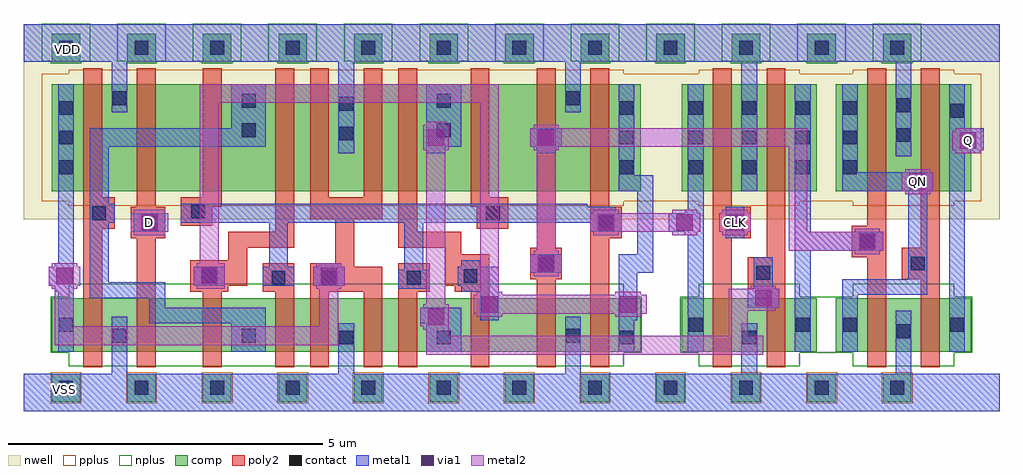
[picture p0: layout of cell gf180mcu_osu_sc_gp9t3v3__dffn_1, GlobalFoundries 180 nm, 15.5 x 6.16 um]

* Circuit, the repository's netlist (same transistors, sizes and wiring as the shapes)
* Copyright 2022 Google LLC
*
* Licensed under the Apache License, Version 2.0 (the "License");
* you may not use this file except in compliance with the License.
* You may obtain a copy of the License at
*
*      http://www.apache.org/licenses/LICENSE-2.0
*
* Unless required by applicable law or agreed to in writing, software
* distributed under the License is distributed on an "AS IS" BASIS,
* WITHOUT WARRANTIES OR CONDITIONS OF ANY KIND, either express or implied.
* See the License for the specific language governing permissions and
* limitations under the License.

.inc "/import/yukari1/lrburle/OSU_180/char/techfiles/design.hspice"
.lib "/import/yukari1/lrburle/OSU_180/char/techfiles/sm141064.hspice" typical

.GLOBAL VDD
.GLOBAL VSS

.option scale=0.05u

.subckt gf180mcu_osu_sc_gp9t3v3__dffn_1 D Q QN CLK
X0 a_42_70 D VDD VDD pmos_3p3 w=34 l=6
X1 a_125_19 a_53_38 a_114_70 VDD pmos_3p3 w=34 l=6
X2 Q QN VSS VSS nmos_3p3 w=17 l=6
X3 a_161_42 a_125_19 VSS VSS nmos_3p3 w=17 l=6
X4 a_86_70 a_53_38 a_19_14 VDD pmos_3p3 w=34 l=6
X5 VDD a_161_42 a_148_70 VDD pmos_3p3 w=34 l=6
X6 Q QN VDD VDD pmos_3p3 w=34 l=6
X7 VSS a_9_19 a_86_19 VSS nmos_3p3 w=17 l=6
X8 a_19_14 a_53_38 a_42_19 VSS nmos_3p3 w=17 l=6
X9 a_161_42 a_125_19 VDD VDD pmos_3p3 w=34 l=6
X10 VDD a_9_19 a_86_70 VDD pmos_3p3 w=34 l=6
X11 a_19_14 a_50_59 a_42_70 VDD pmos_3p3 w=34 l=6
X12 VSS a_19_14 a_9_19 VSS nmos_3p3 w=17 l=6
X13 a_53_38 a_50_59 VSS VSS nmos_3p3 w=17 l=6
X14 VDD a_19_14 a_9_19 VDD pmos_3p3 w=34 l=6
X15 VSS a_161_42 QN VSS nmos_3p3 w=17 l=6
X16 a_53_38 a_50_59 VDD VDD pmos_3p3 w=34 l=6
X17 VSS CLK a_50_59 VSS nmos_3p3 w=17 l=6
X18 VDD a_161_42 QN VDD pmos_3p3 w=34 l=6
X19 a_148_19 a_53_38 a_125_19 VSS nmos_3p3 w=17 l=6
X20 a_114_19 a_9_19 VSS VSS nmos_3p3 w=17 l=6
X21 VDD CLK a_50_59 VDD pmos_3p3 w=34 l=6
X22 a_148_70 a_50_59 a_125_19 VDD pmos_3p3 w=34 l=6
X23 a_114_70 a_9_19 VDD VDD pmos_3p3 w=34 l=6
X24 a_42_19 D VSS VSS nmos_3p3 w=17 l=6
X25 a_125_19 a_50_59 a_114_19 VSS nmos_3p3 w=17 l=6
X26 a_86_19 a_50_59 a_19_14 VSS nmos_3p3 w=17 l=6
X27 VSS a_161_42 a_148_19 VSS nmos_3p3 w=17 l=6
.ends

** hspice subcircuit dictionary

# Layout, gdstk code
import gdstk
lib = gdstk.Library(unit=1e-6, precision=1e-09)
def R(c, l, rs):  # rectangles x0, y0, x1, y1
    for r in rs: c.add(gdstk.rectangle(r[:2], r[2:], *l))
def A(c, l, x, y, w, h, nx, ny, dx, dy):  # array of equal rectangles
    R(c, l, [(x+i*dx, y+j*dy, x+i*dx+w, y+j*dy+h) for i in range(nx) for j in range(ny)])
nwell = (21, 0)
comp = (22, 0)
poly2 = (30, 0)
pplus = (31, 0)
nplus = (32, 0)
contact = (33, 0)
metal1 = (34, 0)
via1 = (35, 0)
metal2 = (36, 0)

gf180mcu_osu_sc_gp9t3v3_ = lib.new_cell('gf180mcu_osu_sc_gp9t3v3__dffn_1')
R(gf180mcu_osu_sc_gp9t3v3_, nwell, [(0,3.05,15.5,6.15)])
A(gf180mcu_osu_sc_gp9t3v3_, comp, 0.45, 0.15, 0.45, 0.45, 12, 2, 1.2, 5.4)
R(gf180mcu_osu_sc_gp9t3v3_, comp, [(0.45,0.95,9.8,1.8), (10.45,0.95,12.6,1.8), (12.9,0.95,15.05,1.8), (0.45,3.5,9.8,5.2), (10.45,3.5,12.6,5.2), (12.9,3.5,15.05,5.2)])
R(gf180mcu_osu_sc_gp9t3v3_, poly2, [(0.95,0.7,1.25,2.9), (1.8,0.7,2.1,2.75), (2.85,0.7,3.15,1.9), (4,0.7,4.3,1.9), (4.55,0.7,4.85,1.9), (5.4,0.7,5.7,1.9), (5.95,0.7,6.25,1.9), (7.1,0.7,7.4,1.9), (8.15,0.7,8.45,2.1), (9,0.7,9.3,2.75), (10.95,0.7,11.25,2.75), (11.8,0.7,12.1,1.95), (13.4,0.7,13.7,2.45), (14.25,0.7,14.55,2.1), (2.65,1.9,3.25,2), (3.8,1.9,4.3,2.35), (4.55,1.9,5.7,2.3), (5.95,1.9,6.45,2.35), (6.85,1.9,7.4,2), (11.5,1.95,12.1,2.45), (2.65,2,3.55,2.4), (6.7,2,7.4,2.5), (8.05,2.1,8.55,2.6), (13.95,2.1,14.55,2.6), (4.55,2.3,5.25,2.35), (4.95,2.35,5.25,3.05), (3.25,2.4,3.55,2.6), (11.8,2.45,12.1,5.45), (13.15,2.45,13.7,2.95), (6.7,2.5,6.95,2.6), (3.25,2.6,4.3,2.85), (5.95,2.6,6.95,2.85), (8.15,2.6,8.45,5.45), (14.25,2.6,14.55,5.45), (1.7,2.75,2.25,3.25), (9,2.75,9.5,3.25), (10.95,2.75,11.55,3.25), (4,2.85,4.3,5.45), (5.95,2.85,6.25,5.45), (0.95,2.9,1.45,3.4), (7.2,2.9,7.7,3.25), (2.5,2.95,3,3.25), (13.4,2.95,13.7,5.45), (4.55,3.05,5.7,3.4), (1.8,3.25,2.1,5.45), (2.5,3.25,3.15,3.4), (7.1,3.25,7.7,3.4), (9,3.25,9.3,5.45), (10.95,3.25,11.25,5.45), (0.95,3.4,1.25,5.45), (2.85,3.4,3.15,5.45), (4.55,3.4,4.85,5.45), (5.4,3.4,5.7,5.45), (7.1,3.4,7.4,5.45)])
A(gf180mcu_osu_sc_gp9t3v3_, pplus, 0.43, 0.13, 0.49, 0.49, 12, 1, 1.2, 0)
R(gf180mcu_osu_sc_gp9t3v3_, pplus, [(0.72,3.27,9.53,3.34), (10.72,3.27,12.33,3.34), (13.17,3.27,14.78,3.34), (0.29,3.34,15.21,5.36), (0.72,5.36,9.53,5.43), (10.72,5.36,12.33,5.43), (13.17,5.36,14.78,5.43)])
A(gf180mcu_osu_sc_gp9t3v3_, nplus, 0.43, 5.53, 0.49, 0.03, 12, 1, 1.2, 0)
A(gf180mcu_osu_sc_gp9t3v3_, nplus, 0.29, 5.56, 0.77, 0.6, 12, 1, 1.2, 0)
R(gf180mcu_osu_sc_gp9t3v3_, nplus, [(0.72,0.72,9.53,0.93), (10.72,0.72,12.33,0.93), (13.17,0.72,14.78,0.93), (0.43,0.93,9.82,1.82), (10.43,0.93,15.07,1.82), (0.72,1.82,9.53,2.03), (10.72,1.82,12.33,2.03), (13.17,1.82,14.78,2.03)])
A(gf180mcu_osu_sc_gp9t3v3_, contact, 0.565, 0.265, 0.22, 0.22, 12, 2, 1.2, 5.4)
A(gf180mcu_osu_sc_gp9t3v3_, contact, 0.565, 3.77, 0.22, 0.22, 1, 3, 0, 0.47)
A(gf180mcu_osu_sc_gp9t3v3_, contact, 9.465, 3.77, 0.22, 0.22, 1, 3, 0, 0.47)
A(gf180mcu_osu_sc_gp9t3v3_, contact, 10.565, 3.77, 0.22, 0.22, 3, 3, 0.85, 0.47)
A(gf180mcu_osu_sc_gp9t3v3_, contact, 13.015, 3.77, 0.22, 0.22, 1, 3, 0, 0.47)
R(gf180mcu_osu_sc_gp9t3v3_, contact, [(5.015,1.065,5.235,1.285), (6.565,1.065,6.785,1.285), (9.465,1.065,9.685,1.285), (11.415,1.065,11.635,1.285), (1.415,1.09,1.635,1.31), (3.465,1.09,3.685,1.31), (8.615,1.09,8.835,1.31), (13.865,1.165,14.085,1.385), (0.565,1.265,0.785,1.485), (10.565,1.265,10.785,1.485), (12.265,1.265,12.485,1.485), (13.015,1.265,13.235,1.485), (14.715,1.265,14.935,1.485), (3.94,2.015,4.16,2.235), (4.74,2.015,4.96,2.235), (6.09,2.015,6.31,2.235), (2.84,2.04,3.06,2.26), (6.99,2.04,7.21,2.26), (11.64,2.09,11.86,2.31), (8.19,2.24,8.41,2.46), (14.09,2.24,14.31,2.46), (13.29,2.59,13.51,2.81), (1.89,2.89,2.11,3.11), (9.14,2.89,9.36,3.11), (11.19,2.89,11.41,3.11), (1.09,3.04,1.31,3.26), (7.34,3.04,7.56,3.26), (2.665,3.065,2.885,3.285), (13.865,4.28,14.085,4.5), (5.015,4.305,5.235,4.525), (3.465,4.355,3.685,4.575), (6.565,4.355,6.785,4.575), (14.715,4.665,14.935,4.885), (13.865,4.75,14.085,4.97), (5.015,4.775,5.235,4.995), (3.465,4.825,3.685,5.045), (6.565,4.825,6.785,5.045), (1.415,4.865,1.635,5.085), (8.615,4.865,8.835,5.085)])
R(gf180mcu_osu_sc_gp9t3v3_, metal1, [(0,0,15.5,0.6), (1.4,0.6,1.65,1.5), (5,0.6,5.25,1.4), (8.6,0.6,8.85,1.5), (11.4,0.6,11.65,1.4), (13.85,0.6,14.1,1.6), (0.55,0.95,0.8,1.9), (3.3,0.95,3.85,1.4), (6.4,0.95,6.95,1.4), (9.45,0.95,9.7,1.45), (10.55,0.95,10.8,2.8), (12.25,0.95,12.5,2.55), (13,0.95,13.25,1.85), (14.7,0.95,14.95,4.1), (2,1.4,3.85,1.65), (6.3,1.4,6.95,1.65), (7.25,1.45,7.55,1.9), (9.45,1.45,9.75,2.2), (2,1.65,2.25,1.8), (11.5,1.65,12,1.95), (1.05,1.8,2.25,2.05), (13,1.85,14.35,2.1), (0.5,1.9,0.8,2), (6.95,1.9,7.55,2), (5.95,1.95,6.45,2.25), (11.6,1.95,11.9,2.45), (0.4,2,0.8,2.3), (2.7,2,3.2,2.3), (3.8,2,4.3,2.3), (4.6,2,5.1,2.3), (6.9,2,7.55,2.3), (1.05,2.05,1.35,3), (14.05,2.1,14.35,3.5), (8.05,2.2,8.55,2.5), (9.45,2.2,10,2.5), (6.05,2.25,6.35,3), (0.5,2.3,0.8,2.35), (3.9,2.3,4.2,3), (4.7,2.3,5,2.35), (6.95,2.3,7.25,2.4), (0.55,2.35,0.8,5.2), (9.75,2.5,10,3.5), (12.25,2.55,13.65,2.85), (11.15,2.75,11.45,3.25), (10.5,2.8,10.8,2.85), (1.75,2.85,2.25,3.15), (9,2.85,9.5,3), (10.25,2.85,10.8,3.15), (12.25,2.85,12.5,5.2), (1.05,3,1.45,3.3), (2.5,3,9.5,3.15), (2.5,3.15,9.4,3.25), (10.5,3.15,10.8,3.2), (10.55,3.2,10.8,5.2), (2.5,3.25,8.95,3.3), (1.05,3.3,1.35,4.2), (9.45,3.5,10,3.75), (11.4,3.5,11.65,5.55), (13,3.5,14.45,3.8), (9.45,3.75,9.7,5.2), (13,3.8,13.25,5.2), (13.85,4.05,14.1,5.55), (5,4.1,5.25,5.55), (6.4,4.1,6.7,4.2), (8.15,4.1,8.45,4.2), (14.7,4.1,15.2,4.15), (14.7,4.15,15.25,4.5), (1.05,4.2,3.85,4.5), (6.4,4.2,6.95,5.2), (8.05,4.2,8.55,4.5), (3.3,4.5,3.85,5.2), (14.7,4.5,14.95,5.2), (1.4,4.75,1.65,5.55), (8.6,4.75,8.85,5.55), (0,5.55,15.5,6.15)])
R(gf180mcu_osu_sc_gp9t3v3_, via1, [(6.42,1.37,6.68,1.63), (7.27,1.57,7.53,1.83), (9.47,1.57,9.73,1.83), (11.62,1.67,11.88,1.93), (0.52,2.02,0.78,2.28), (2.82,2.02,3.08,2.28), (4.72,2.02,4.98,2.28), (8.17,2.22,8.43,2.48), (13.27,2.57,13.53,2.83), (1.87,2.87,2.13,3.13), (9.12,2.87,9.38,3.13), (10.37,2.87,10.63,3.13), (11.17,2.87,11.43,3.13), (14.07,3.52,14.33,3.78), (14.87,4.17,15.13,4.43), (6.42,4.22,6.68,4.48), (8.17,4.22,8.43,4.48)])
R(gf180mcu_osu_sc_gp9t3v3_, metal2, [(6.4,0.9,11.75,1.2), (0.5,1.05,5,1.35), (6.4,1.2,6.75,1.3), (11.2,1.2,11.5,1.6), (6.35,1.3,6.75,1.35), (0.5,1.35,0.8,1.95), (4.7,1.35,5,1.95), (6.3,1.35,6.75,1.65), (7.2,1.5,7.6,1.55), (9.4,1.5,9.8,1.55), (7.15,1.55,9.9,1.85), (11.2,1.6,11.95,1.65), (6.35,1.65,6.75,1.7), (11.2,1.65,12,1.95), (6.4,1.7,6.7,4.15), (7.2,1.85,7.6,1.9), (9.4,1.85,9.8,1.9), (7.25,1.9,7.55,4.9), (0.45,1.95,0.85,2), (2.75,1.95,3.2,2), (4.65,1.95,5.05,2), (11.55,1.95,11.95,2), (0.4,2,0.9,2.3), (2.7,2,3.2,2.3), (4.6,2,5.1,2.3), (8.1,2.15,8.5,2.2), (8.05,2.2,8.55,2.5), (0.45,2.3,0.85,2.35), (2.75,2.3,3.2,2.35), (4.65,2.3,5.05,2.35), (2.8,2.35,3.1,4.9), (8.1,2.5,8.5,2.55), (13.2,2.5,13.6,2.55), (8.15,2.55,8.45,4.15), (12.15,2.55,13.65,2.85), (1.75,2.8,2.25,2.85), (9.05,2.8,9.45,2.85), (10.3,2.8,10.7,2.85), (11.1,2.8,11.5,2.85), (1.7,2.85,2.3,3.15), (9,2.85,10.75,3.15), (11.05,2.85,11.55,3.15), (12.15,2.85,12.45,4.2), (13.2,2.85,13.6,2.9), (1.75,3.15,2.25,3.2), (9.05,3.15,9.45,3.2), (10.3,3.15,10.7,3.2), (11.1,3.15,11.5,3.2), (14,3.45,14.4,3.5), (13.95,3.5,14.45,3.8), (14,3.8,14.4,3.85), (14.8,4.1,15.2,4.15), (6.35,4.15,6.75,4.55), (8.1,4.15,8.5,4.2), (14.75,4.15,15.25,4.45), (8.05,4.2,12.45,4.5), (14.8,4.45,15.2,4.5), (8.1,4.5,8.5,4.55), (6.4,4.55,6.7,4.6), (2.8,4.9,7.55,5.2)])
gf180mcu_osu_sc_gp9t3v3_.add(gdstk.Label('VDD', (0.7,5.75), layer=34, texttype=0))
gf180mcu_osu_sc_gp9t3v3_.add(gdstk.Label('VSS', (0.65,0.35), layer=34, texttype=0))
gf180mcu_osu_sc_gp9t3v3_.add(gdstk.Label('D', (2,3), layer=36, texttype=10))
gf180mcu_osu_sc_gp9t3v3_.add(gdstk.Label('Q', (15,4.3), layer=36, texttype=10))
gf180mcu_osu_sc_gp9t3v3_.add(gdstk.Label('QN', (14.2,3.65), layer=36, texttype=10))
gf180mcu_osu_sc_gp9t3v3_.add(gdstk.Label('CLK', (11.3,3), layer=36, texttype=10))

lib.write_gds('gf180mcu_osu_sc_gp9t3v3__dffn_1.gds')
